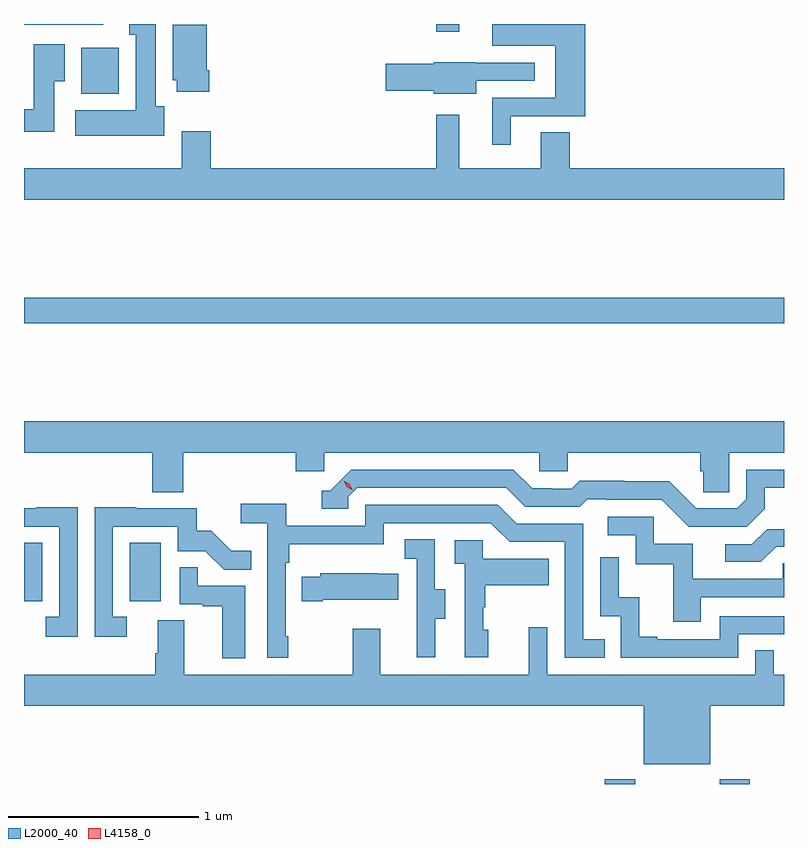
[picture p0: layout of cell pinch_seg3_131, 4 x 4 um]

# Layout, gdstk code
import gdstk
lib = gdstk.Library(unit=1e-6, precision=1e-09)
def R(c, l, rs):  # rectangles x0, y0, x1, y1
    for r in rs: c.add(gdstk.rectangle(r[:2], r[2:], *l))
def P(c, l, *ps):  # polygons
    for p in ps: c.add(gdstk.Polygon(p, *l))
L2000_40 = (2000, 40)
L4158_0 = (4158, 0)

pinch_seg3_131 = lib.new_cell('pinch_seg3_131')
R(pinch_seg3_131, L2000_40, [(1121.975,712.492,1122.135,712.516), (1122.58,712.492,1122.74,712.516), (1118.919,713.454,1119.016,713.761), (1119.476,713.454,1119.64,713.761), (1118.919,714.916,1122.919,715.052), (1119.221,716.126,1119.418,716.368), (1121.088,716.451,1121.209,716.492), (1118.919,716.487,1119.337,716.492)])
P(pinch_seg3_131, L2000_40, [(1121.482,716.007),(1121.873,716.007),(1121.873,716.492),(1121.384,716.492),(1121.384,716.378),(1121.714,716.378),(1121.714,716.103),(1121.384,716.103),(1121.384,715.857),(1121.482,715.857)],
  [(1119.658,716.058),(1119.613,716.058),(1119.613,716.492),(1119.473,716.492),(1119.473,716.435),(1119.506,716.435),(1119.506,716.038),(1119.189,716.038),(1119.189,715.904),(1119.658,715.904)],
  [(1119.893,716.248),(1119.88,716.248),(1119.88,716.488),(1119.701,716.488),(1119.701,716.196),(1119.722,716.196),(1119.722,716.136),(1119.893,716.136)],
  [(1119.079,716.192),(1119.133,716.192),(1119.133,716.386),(1118.969,716.386),(1118.969,716.044),(1118.919,716.044),(1118.919,715.926),(1119.079,715.926)],
  [(1121.299,716.193),(1121.608,716.193),(1121.608,716.289),(1121.295,716.289),(1121.295,716.29),(1121.076,716.29),(1121.076,716.282),(1120.824,716.282),(1120.824,716.14),(1121.076,716.14),(1121.076,716.126),(1121.299,716.126)],
  [(1122.919,715.732),(1121.792,715.732),(1121.792,715.922),(1121.639,715.922),(1121.639,715.732),(1121.209,715.732),(1121.209,716.014),(1121.088,716.014),(1121.088,715.732),(1119.902,715.732),(1119.902,715.927),(1119.749,715.927),(1119.749,715.732),(1118.919,715.732),(1118.919,715.568),(1122.919,715.568)],
  [(1119.758,714.236),(1120.349,714.236),(1120.349,714.138),(1120.5,714.138),(1120.5,714.236),(1121.631,714.236),(1121.631,714.138),(1121.781,714.138),(1121.781,714.236),(1122.479,714.236),(1122.479,714.138),(1122.493,714.138),(1122.493,714.028),(1122.63,714.028),(1122.63,714.236),(1122.919,714.236),(1122.919,714.4),(1118.919,714.4),(1118.919,714.236),(1119.593,714.236),(1119.593,714.028),(1119.758,714.028)],
  [(1122.817,713.941),(1122.817,714.051),(1122.919,714.051),(1122.919,714.147),(1122.72,714.147),(1122.72,713.991),(1122.672,713.943),(1122.456,713.943),(1122.314,714.085),(1122.078,714.085),(1122.078,714.088),(1121.845,714.088),(1121.803,714.045),(1121.7,714.045),(1121.7,714.048),(1121.593,714.048),(1121.494,714.147),(1120.641,714.147),(1120.53,714.036),(1120.487,714.036),(1120.487,713.94),(1120.626,713.94),(1120.626,714.003),(1120.674,714.051),(1121.457,714.051),(1121.556,713.952),(1121.845,713.952),(1121.884,713.991),(1121.983,713.991),(1121.983,713.988),(1122.276,713.988),(1122.417,713.847),(1122.723,713.847)],
  [(1120.309,713.269),(1120.296,713.269),(1120.296,713.657),(1120.316,713.657),(1120.316,713.753),(1120.812,713.753),(1120.812,713.865),(1121.376,713.865),(1121.475,713.766),(1121.766,713.766),(1121.766,713.157),(1121.975,713.157),(1121.975,713.253),(1121.862,713.253),(1121.862,713.862),(1121.512,713.862),(1121.413,713.961),(1120.716,713.961),(1120.716,713.85),(1120.298,713.85),(1120.298,713.966),(1120.059,713.966),(1120.059,713.864),(1120.2,713.864),(1120.2,713.157),(1120.309,713.157)],
  [(1119.201,713.948),(1118.983,713.948),(1118.983,713.943),(1118.919,713.943),(1118.919,713.847),(1119.105,713.847),(1119.105,713.373),(1119.033,713.373),(1119.033,713.268),(1119.201,713.268)],
  [(1119.46,713.373),(1119.387,713.373),(1119.387,713.847),(1119.729,713.847),(1119.729,713.718),(1119.874,713.718),(1119.972,713.62),(1120.115,713.62),(1120.115,713.719),(1120.011,713.719),(1119.904,713.826),(1119.828,713.826),(1119.828,713.943),(1119.509,713.943),(1119.509,713.948),(1119.291,713.948),(1119.291,713.268),(1119.46,713.268)],
  [(1122.481,713.475),(1122.919,713.475),(1122.919,713.655),(1122.913,713.655),(1122.913,713.571),(1122.439,713.571),(1122.439,713.757),(1122.234,713.757),(1122.234,713.898),(1121.991,713.898),(1121.991,713.802),(1122.138,713.802),(1122.138,713.649),(1122.337,713.649),(1122.337,713.346),(1122.481,713.346)],
  [(1122.877,713.742),(1122.919,713.742),(1122.919,713.834),(1122.83,713.834),(1122.75,713.754),(1122.609,713.754),(1122.609,713.661),(1122.796,713.661)],
  [(1121.083,713.362),(1121.137,713.362),(1121.137,713.517),(1121.082,713.517),(1121.082,713.78),(1120.923,713.78),(1120.923,713.677),(1120.986,713.677),(1120.986,713.373),(1120.985,713.373),(1120.985,713.16),(1121.083,713.16)],
  [(1121.362,713.304),(1121.337,713.304),(1121.337,713.423),(1121.347,713.423),(1121.347,713.537),(1121.681,713.537),(1121.681,713.677),(1121.334,713.677),(1121.334,713.775),(1121.187,713.775),(1121.187,713.651),(1121.238,713.651),(1121.238,713.16),(1121.362,713.16)],
  [(1122.678,713.28),(1122.919,713.28),(1122.919,713.376),(1122.582,713.376),(1122.582,713.253),(1122.253,713.253),(1122.253,713.266),(1122.158,713.266),(1122.158,713.474),(1122.048,713.474),(1122.048,713.686),(1121.952,713.686),(1121.952,713.376),(1122.06,713.376),(1122.06,713.157),(1122.678,713.157)],
  [(1120.084,713.535),(1119.833,713.535),(1119.833,713.633),(1119.738,713.633),(1119.738,713.439),(1119.859,713.439),(1119.859,713.427),(1119.962,713.427),(1119.962,713.153),(1120.084,713.153)],
  [(1120.492,713.462),(1120.889,713.462),(1120.889,713.599),(1120.781,713.599),(1120.781,713.602),(1120.479,713.602),(1120.479,713.584),(1120.381,713.584),(1120.381,713.455),(1120.492,713.455)],
  [(1121.673,713.317),(1121.576,713.317),(1121.576,713.068),(1120.795,713.068),(1120.795,713.308),(1120.648,713.308),(1120.648,713.068),(1119.763,713.068),(1119.763,713.354),(1119.623,713.354),(1119.623,713.18),(1119.611,713.18),(1119.611,713.068),(1118.919,713.068),(1118.919,712.904),(1122.182,712.904),(1122.182,712.595),(1122.532,712.595),(1122.532,712.904),(1122.919,712.904),(1122.919,713.068),(1122.864,713.068),(1122.864,713.195),(1122.768,713.195),(1122.768,713.068),(1121.673,713.068)])
P(pinch_seg3_131, L4158_0, [(1120.649,714.037),(1120.618,714.056),(1120.602,714.088),(1120.602,714.088),(1120.603,714.088),(1120.633,714.069),(1120.649,714.037),(1120.649,714.037)])

lib.write_gds('pinch_seg3_131.gds')
